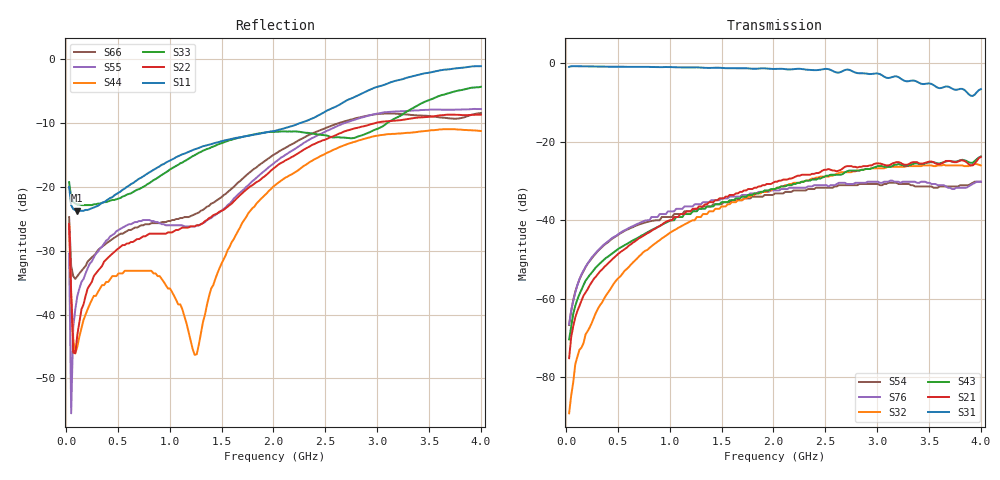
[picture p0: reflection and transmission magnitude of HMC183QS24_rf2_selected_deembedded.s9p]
!Hittite Microwave Corporation
!12 Elizabeth Drive
!Chelmsford, MA 01824
!Tel: 978-250-3343
!Fax: 978-250-3373
!Device: HMC183QS24, DC-2 GHz GaAS MMIC SP8T Non-Reflective Switch in 24-lead QSOP package
!Misc: Port 1 = RFCom, Port 2 = RF1, Port 3 = RF2, Port 4 = RF3, Port 5 = RF4, Port 6 = RF5, Port 7 = RF6, Port 8 = RF7, Port 9 = RF8, RF2 selected, Vctl=0/-5V
# MHZ S MA R 50
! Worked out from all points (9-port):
!   201 points, 30 MHz to 4 GHz, reference 50 ohm
!   strongest paths, dB at 30 MHz, 1.022 GHz, 2.015 GHz, 3.007 GHz, 4 GHz:
!     S31: -0.9, -1.0, -1.4, -2.6, -6.6
!     S21: -75.1, -40.0, -30.2, -25.5, -23.9
!     S43: -70.4, -40.0, -32.0, -26.2, -23.7
!     S32: -89.2, -42.9, -32.0, -26.7, -26.0
!     S76: -66.5, -37.7, -32.4, -30.2, -30.2
!     S54: -66.7, -39.2, -33.2, -30.8, -30.2
!   lowest |S11| = -23.7 dB at 109.4 MHz (marker M1), VSWR 1.14, Z = 56.1 - j3.14 ohm
!   |S11| at or under -10 dB: start of sweep to 2.259 GHz
